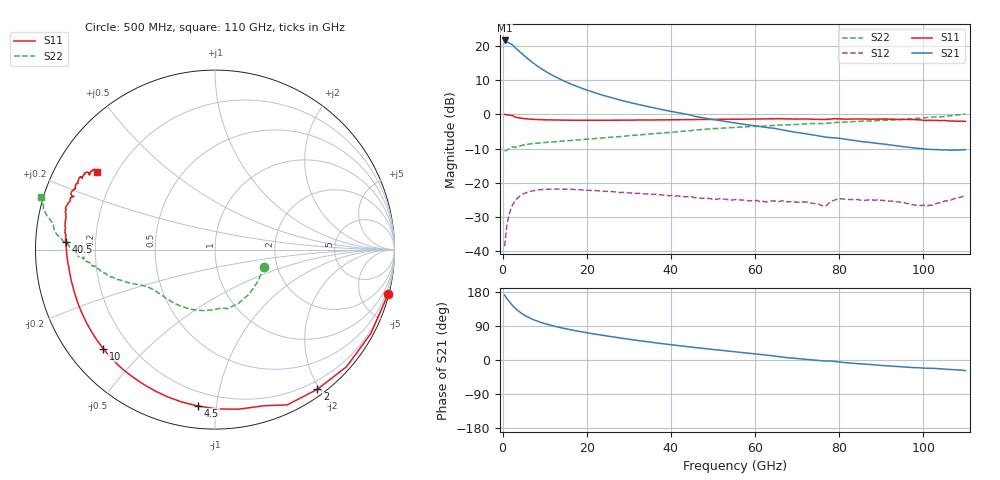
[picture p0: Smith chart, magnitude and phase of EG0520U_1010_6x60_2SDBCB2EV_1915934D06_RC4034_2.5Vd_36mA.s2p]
!File name = EG0520U_1010_6x60_2SDBCB2EV_1915934D06_RC4034_2.5Vd_36mA.s2p
!Base file name = EG0520U_1010_6x60_2SDBCB2EV_1915934D06_RC4034
!Date = 8/23/2019
!Time = 12:56 PM
!Test duration(min) = 0.15
!Test = S-Parameters
!MPTS version = 8.91.5
!State File = C:\Data\PNA\20190821205423\S-Parameters_2019-08-23.sta
!Cal File =
!ComputerName = CMPE-LAB-6
!Comments =
!Attenuation = 0
!Z0 = 50
!Input Power(dBm) = -13.00
!Device ID = EG0520U_1010_6x60_2SDBCB2EV
!Row = 40
!Column = 34
!Technology = QPHT09
!Lot/Wafer = 1915934D06
!Gate Size = 360
!Mask = EG0520
!Cal Standards = GaAs BCB
!Cal Kit = EG2306
!Job Number = 20190821205423
!Device Type = FET
!set_Vg(v) = -1.500
!set_Vd(v) = 2.500
!set_Vd(mA) = 36.000
!file_name = EG0520U_1010_6x60_2SDBCB2EV_1915934D06_RC4034_2.5Vd_36mA.s2p
!Vd(V) = 2.500
!Vd(mA) = 36.023
!Vg(V) = -0.512
!Vg(mA) = -0.001
# GHz  S  DB  R  50
!%	Freq(GHz)  s11(dB)  s11(deg)  s21(dB)  s21(deg)  s12(dB)  s12(deg)  s22(dB)  s22(deg)
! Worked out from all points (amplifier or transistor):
!   220 points, 500 MHz to 110 GHz, reference 50 ohm
!   highest |S21| = 21.6 dB at 500 MHz (marker M1)
!   |S21| within 3 dB of that: start of sweep to 3.828 GHz
!   unconditionally stable (mu >= 1): 35.02 GHz to 103.9 GHz
!   at 18.5 GHz: K = 0.50, MSG = 14.9 dB, |S12| = -22.1 dB
!   at 55.5 GHz: K = 1.43, MAG = 7.3 dB, |S12| = -24.9 dB
!   at 110 GHz: K = -1.09, MSG = 6.7 dB, |S12| = -23.8 dB
!   S11 on the Smith chart (normalised r, x): 500 MHz: 0.14, -7.95; 2 GHz: 0.09, -1.97; 4.5 GHz: 0.12, -0.89; 10 GHz: 0.10, -0.38; 40.5 GHz: 0.09, +0.02; 110 GHz: 0.13, +0.30
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0.5  -0.04 -14.3  21.60 171.3  -38.55 81.5  -10.76 -19.1
1  -0.12 -28.4  21.21 162.8  -32.76 74.0  -10.53 -36.3
2  -0.31 -53.8  20.60 148.3  -27.58 59.8  -9.70 -66.7
2.5  -0.41 -65.0  20.18 142.0  -26.20 54.0  -9.47 -78.2
3  -0.81 -72.7  19.50 136.9  -25.36 49.8  -9.71 -83.3
3.5  -0.93 -81.5  18.96 131.9  -24.60 45.3  -9.48 -91.6
4.5  -1.14 -96.2  17.85 123.3  -23.58 37.9  -9.10 -105.0
5.5  -1.29 -107.9  16.77 116.4  -22.96 32.2  -8.87 -114.9
7  -1.45 -121.2  15.28 108.1  -22.42 25.6  -8.57 -125.2
8.5  -1.53 -130.9  13.95 101.7  -22.10 20.9  -8.41 -131.9
10  -1.59 -138.5  12.74 96.2  -21.94 16.9  -8.25 -137.0
11.5  -1.65 -144.6  11.66 91.5  -21.88 13.8  -8.11 -140.9
13.5  -1.69 -151.0  10.39 86.1  -21.87 10.6  -7.91 -144.6
19  -1.74 -162.7  7.54 73.9  -22.09 4.5  -7.38 -150.7
26.5  -1.72 -172.2  4.65 60.4  -22.63 0.5  -6.62 -155.1
37  -1.63 179.4  1.62 44.4  -23.45 -1.5  -5.54 -160.0
40.5  -1.58 177.2  0.77 39.6  -23.81 -1.6  -5.18 -161.8
55.5  -1.43 168.7  -2.55 21.4  -24.89 -0.9  -3.79 -169.1
73.5  -1.42 159.9  -5.95 0.4  -25.98 -4.9  -2.69 -175.7
92  -1.41 151.6  -8.92 -16.0  -25.39 -16.5  -1.68 177.8
101  -1.74 149.3  -10.22 -21.4  -26.74 -14.4  -0.92 173.2
110  -2.07 146.6  -10.31 -28.1  -23.77 -15.5  0.14 163.1
